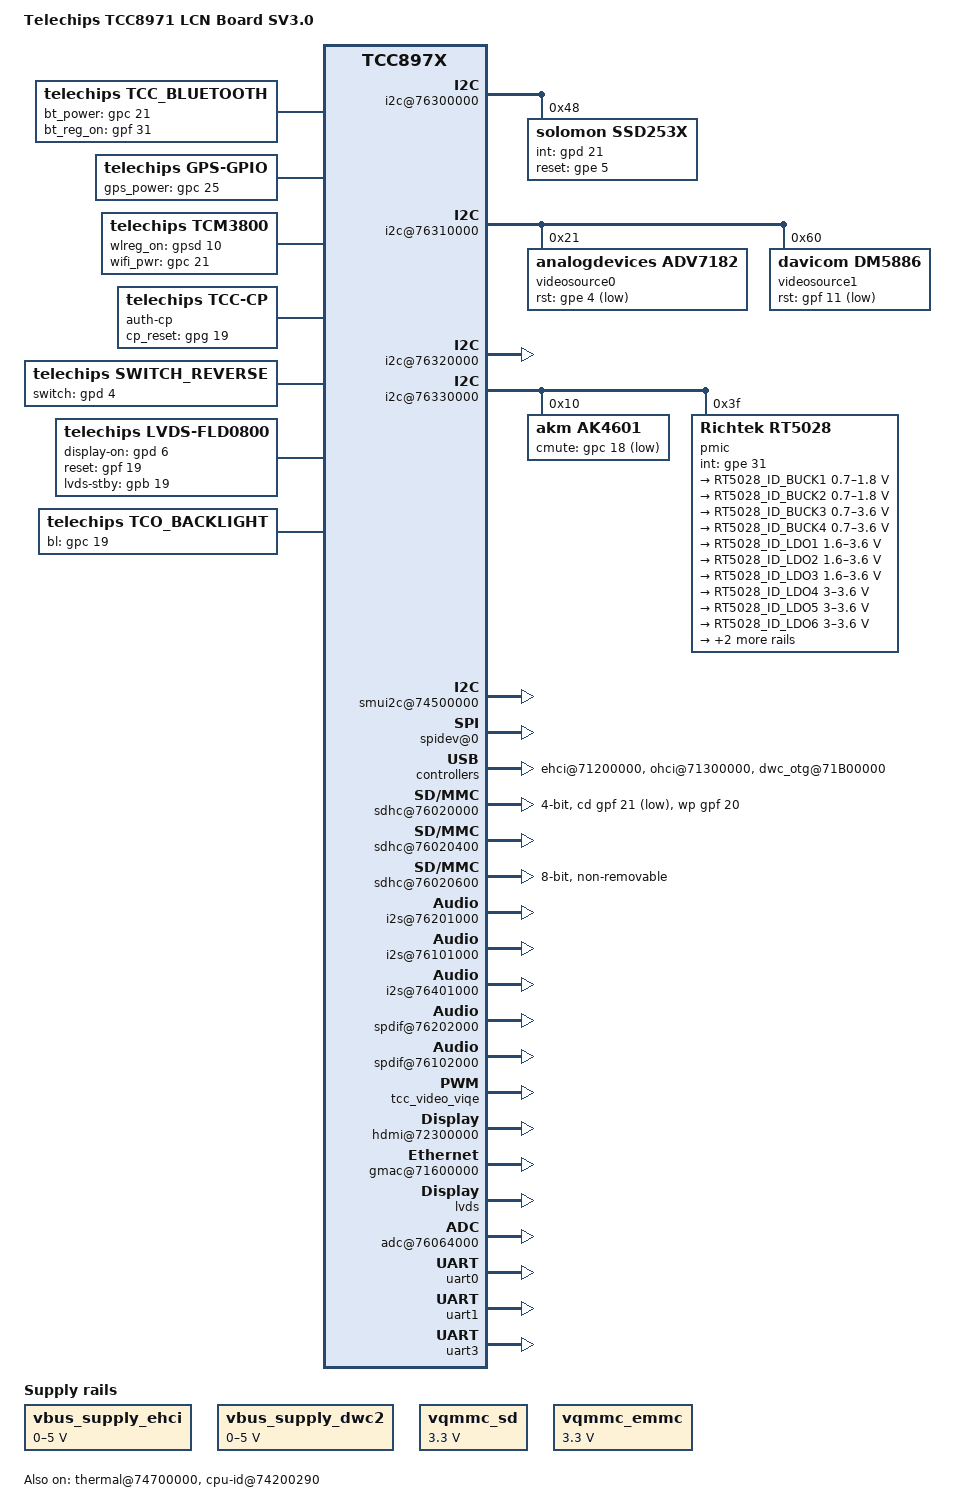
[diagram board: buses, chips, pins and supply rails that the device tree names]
/*
 * Device tree for Telechips TCC8971 LCN board
 *
 * Copyright (C) 2018 Telechips Inc. - http://www.telechips.com
 *
 * This file is dual-licensed: you can use it either under the terms
 * of the GPL or the X11 license, at your option. Note that this dual
 * licensing only applies to this file, and not this project as a
 * whole.
 *
 *  a) This file is free software; you can redistribute it and/or
 *     modify it under the terms of the GNU General Public License as
 *     published by the Free Software Foundation; either version 2 of the
 *     License, or (at your option) any later version.
 *
 *     This file is distributed in the hope that it will be useful,
 *     but WITHOUT ANY WARRANTY; without even the implied warranty of
 *     MERCHANTABILITY or FITNESS FOR A PARTICULAR PURPOSE.  See the
 *     GNU General Public License for more details.
 *
 * Or, alternatively,
 *
 *  b) Permission is hereby granted, free of charge, to any person
 *     obtaining a copy of this software and associated documentation
 *     files (the "Software"), to deal in the Software without
 *     restriction, including without limitation the rights to use,
 *     copy, modify, merge, publish, distribute, sublicense, and/or
 *     sell copies of the Software, and to permit persons to whom the
 *     Software is furnished to do so, subject to the following
 *     conditions:
 *
 *     The above copyright notice and this permission notice shall be
 *     included in all copies or substantial portions of the Software.
 *
 *     THE SOFTWARE IS PROVIDED "AS IS", WITHOUT WARRANTY OF ANY KIND,
 *     EXPRESS OR IMPLIED, INCLUDING BUT NOT LIMITED TO THE WARRANTIES
 *     OF MERCHANTABILITY, FITNESS FOR A PARTICULAR PURPOSE AND
 *     NONINFRINGEMENT. IN NO EVENT SHALL THE AUTHORS OR COPYRIGHT
 *     HOLDERS BE LIABLE FOR ANY CLAIM, DAMAGES OR OTHER LIABILITY,
 *     WHETHER IN AN ACTION OF CONTRACT, TORT OR OTHERWISE, ARISING
 *     FROM, OUT OF OR IN CONNECTION WITH THE SOFTWARE OR THE USE OR
 *     OTHER DEALINGS IN THE SOFTWARE.
 */

/dts-v1/;

#include "tcc8971.dtsi"

#include <dt-bindings/pmap/tcc897x/pmap-tcc897x-android-ivi.h>
#include "tcc-pmap-897x-android-customized.dtsi"
#include "tcc-pmap-common.dtsi"

/ {
	model = "Telechips TCC8971 LCN Board SV3.0";
	compatible = "telechips,tcc8971-lcn", "telechips,tcc897x";

	reserved-memory {
		/*-----------------------------------------------------------
		 * Secure Area 1 (CPU R/W, VPU X, GPU R/W, VIOC R)
		 *-----------------------------------------------------------
		 */
		pmap_fb_video: fb_video {
			compatible = "telechips,pmap";
			telechips,pmap-name = "fb_video";
			alloc-ranges = <SECURE_AREA_1_BASE SECURE_AREA_1_SIZE>;
			size = <PMAP_SIZE_FB_VIDEO>;
			telechips,pmap-secured = <1>;
			no-map;
		};

		pmap_fb1_video: fb1_video {
			compatible = "telechips,pmap";
			telechips,pmap-name = "fb1_video";
			alloc-ranges = <SECURE_AREA_1_BASE SECURE_AREA_1_SIZE>;
			size = <PMAP_SIZE_FB1_VIDEO>;
			telechips,pmap-secured = <1>;
			no-map;
		};

		pmap_fb2_video: fb2_video {
			compatible = "telechips,pmap";
			telechips,pmap-name = "fb2_video";
			alloc-ranges = <SECURE_AREA_1_BASE SECURE_AREA_1_SIZE>;
			size = <PMAP_SIZE_FB2_VIDEO>;
			telechips,pmap-secured = <1>;
			no-map;
		};

		/*-----------------------------------------------------------
		 * Secure Area 2 (CPU X, VPU X, GPU X, VIOC R/W)
		 *-----------------------------------------------------------
		 */
		pmap_overlay: overlay {
			compatible = "telechips,pmap";
			telechips,pmap-name = "overlay";
			alloc-ranges = <SECURE_AREA_2_BASE SECURE_AREA_2_SIZE>;
			/* Max-Displayed-Output(w*h*2) * 3 */
			size = <PMAP_SIZE_OVERLAY>;
			telechips,pmap-secured = <2>;
			no-map;
		};

		pmap_overlay1: overlay1 {
			compatible = "telechips,pmap";
			telechips,pmap-name = "overlay1";
			alloc-ranges = <SECURE_AREA_2_BASE SECURE_AREA_2_SIZE>;
			/* Max-Displayed-Output(w*h*2) * 3 */
			size = <PMAP_SIZE_OVERLAY1>;
			telechips,pmap-secured = <2>;
			no-map;
		};

		pmap_overlay_rot: overlay_rot {
			compatible = "telechips,pmap";
			telechips,pmap-name = "overlay_rot";
			alloc-ranges = <SECURE_AREA_2_BASE SECURE_AREA_2_SIZE>;
			/* Max-Displayed-Output(w*h*2) for device-rotation. */
			size = <PMAP_SIZE_OVERLAY_ROT>;
			telechips,pmap-secured = <2>;
			no-map;
		};

		pmap_viqe0: viqe0 {
			compatible = "telechips,pmap";
			telechips,pmap-name = "viqe";
			alloc-ranges = <SECURE_AREA_2_BASE SECURE_AREA_2_SIZE>;
			size = <PMAP_SIZE_VIQE0>;
			telechips,pmap-secured = <2>;
			no-map;
		};

		pmap_viqe1: viqe1 {
			compatible = "telechips,pmap";
			telechips,pmap-name = "viqe1";
			alloc-ranges = <SECURE_AREA_2_BASE SECURE_AREA_2_SIZE>;
			size = <PMAP_SIZE_VIQE1>;
			telechips,pmap-secured = <2>;
			no-map;
		};

		pmap_output_attach: output_attach {
			compatible = "telechips,pmap";
			telechips,pmap-name = "output_attach";
			alloc-ranges = <SECURE_AREA_2_BASE SECURE_AREA_2_SIZE>;
			size = <PMAP_SIZE_OUTPUT_ATTACH>;
			telechips,pmap-secured = <2>;
			no-map;
		};

		pmap_v4l2_vout0: v4l2_vout0 {
			compatible = "telechips,pmap";
			telechips,pmap-name = "v4l2_vout0";
			alloc-ranges = <SECURE_AREA_2_BASE SECURE_AREA_2_SIZE>;
			size = <PMAP_SIZE_V4L2_VOUT0>;
			telechips,pmap-secured = <2>;
			no-map;
		};

		pmap_v4l2_vout1: v4l2_vout1 {
			compatible = "telechips,pmap";
			telechips,pmap-name = "v4l2_vout1";
			alloc-ranges = <SECURE_AREA_2_BASE SECURE_AREA_2_SIZE>;
			size = <PMAP_SIZE_V4L2_VOUT1>;
			telechips,pmap-secured = <2>;
			no-map;
		};

		pmap_video_dual: video_dual {
			compatible = "telechips,pmap";
			telechips,pmap-name = "video_dual";
			alloc-ranges = <SECURE_AREA_2_BASE SECURE_AREA_2_SIZE>;
			size = <PMAP_SIZE_VIDEO_DUAL>;
			telechips,pmap-secured = <2>;
			no-map;
		};

		pmap_fb_wmixer: fb_wmixer {
			compatible = "telechips,pmap";
			telechips,pmap-name = "fb_wmixer";
			alloc-ranges = <SECURE_AREA_2_BASE SECURE_AREA_2_SIZE>;
			/* Max-Video-Resolution(w*h*2) */
			size = <PMAP_SIZE_FB_WMIXER>;
			telechips,pmap-secured = <2>;
			no-map;
		};

		/*-----------------------------------------------------------
		 * Secure Area 3 (CPU X, VPU R/W, GPU X, VIOC R)
		 *-----------------------------------------------------------
		 */

		pmap_secure_inbuf: secure_inbuf {
			compatible = "telechips,pmap";
			telechips,pmap-name = "secure_inbuf";
			alloc-ranges = <SECURE_AREA_3_BASE SECURE_AREA_3_SIZE>;
			size = <PMAP_SIZE_SECURE_INBUF>;
			telechips,pmap-secured = <3>;
			no-map;
		};

		pmap_video_ext: video_ext {
			compatible = "telechips,pmap";
			telechips,pmap-name = "video_ext";
			alloc-ranges = <SECURE_AREA_3_BASE SECURE_AREA_3_SIZE>;
			size = <PMAP_SIZE_VIDEO_EXT>;
			telechips,pmap-secured = <3>;
			no-map;
		};

		pmap_video_ext2: video_ext2 {
			compatible = "telechips,pmap";
			telechips,pmap-name = "video_ext2";
			alloc-ranges = <SECURE_AREA_3_BASE SECURE_AREA_3_SIZE>;
			size = <PMAP_SIZE_VIDEO_EXT2>;
			telechips,pmap-secured = <3>;
			no-map;
		};

		pmap_video: video {
			compatible = "telechips,pmap";
			telechips,pmap-name = "video";
			alloc-ranges = <SECURE_AREA_3_BASE SECURE_AREA_3_SIZE>;
			size = <PMAP_SIZE_VIDEO>;
			telechips,pmap-secured = <3>;
			no-map;
		};

		pmap_video_sw: video_sw {
			compatible = "telechips,pmap";
			telechips,pmap-name = "video_sw";
			alloc-ranges = <RESERVED_MEM_BASE RESERVED_MEM_SIZE>;
			size = <PMAP_SIZE_VIDEO_SW_EXTRA>;
			no-map;
		};

		/*-----------------------------------------------------------
		 * Secure Area 4 (CPU X, VPU X, GPU R/W, VIOC R/W)
		 *-----------------------------------------------------------
		 */
		pmap_ump_reserved: ump_reserved {
			compatible = "telechips,pmap";
			telechips,pmap-name = "ump_reserved";
			alloc-ranges = <SECURE_AREA_4_BASE SECURE_AREA_4_SIZE>;
			/* Max-Video-Resolution(Aligned_256KB(w*h*3/2)) * 12 + 1MB */
			size = <PMAP_SIZE_UMP_RESERVED>;
			telechips,pmap-secured = <4>;
		};

		pmap_ion_carveout_cam: ion_carveout_cam {
			compatible = "telechips,pmap";
			telechips,pmap-name = "ion_carveout_cam";
			alloc-ranges = <SECURE_AREA_4_BASE SECURE_AREA_4_SIZE>;
			size = <PMAP_SIZE_ION_CARVEOUT_CAM>; // 12MB
			telechips,pmap-secured = <4>;
		};

		/*-----------------------------------------------------------
		 * Shared Memory with pmap_viqe
		 *-----------------------------------------------------------
		 */
		pmap_jpeg_header: jpeg_header {
			compatible = "telechips,pmap";
			telechips,pmap-name = "jpeg_header";
			alloc-ranges = <RESERVED_MEM_BASE RESERVED_MEM_SIZE>;
			telechips,pmap-shared = <&pmap_viqe0>;
			telechips,pmap-shared-size = <PMAP_SIZE_JPEG_HEADER>;
			telechips,pmap-offset = <0x0>;
			size = <0x0>;
			no-map;
		};

		pmap_jpeg_stream: jpeg_stream {
			compatible = "telechips,pmap";
			telechips,pmap-name = "jpeg_stream";
			alloc-ranges = <RESERVED_MEM_BASE RESERVED_MEM_SIZE>;
			telechips,pmap-shared = <&pmap_jpeg_header>;
			telechips,pmap-shared-size = <PMAP_SIZE_JPEG_STREAM>;
			telechips,pmap-offset = <PMAP_SIZE_JPEG_HEADER>;
			size = <0x0>;
			no-map;
		};

		pmap_jpeg_raw: jpeg_raw {
			compatible = "telechips,pmap";
			telechips,pmap-name = "jpeg_raw";
			alloc-ranges = <RESERVED_MEM_BASE RESERVED_MEM_SIZE>;
			telechips,pmap-shared = <&pmap_jpeg_stream>;
			telechips,pmap-shared-size = <PMAP_SIZE_JPEG_RAW>;
			telechips,pmap-offset = <PMAP_SIZE_JPEG_STREAM>;
			size = <0x0>;
			no-map;
		};

		/*-----------------------------------------------------------
		 * Camera Memory
		 *-----------------------------------------------------------
		 */
		pmap_rearcamera_viqe: rearcamera_viqe {
			compatible = "telechips,pmap";
			telechips,pmap-name = "rearcamera_viqe";
			alloc-ranges = <EARLY_REARCAM_BASE EARLY_REARCAM_SIZE>;
			size = <PMAP_SIZE_CAMERA_VIQE>;
			no-map;
		};

		pmap_rearcamera: rearcamera {
			compatible = "telechips,pmap";
			telechips,pmap-name = "rearcamera";
			alloc-ranges = <EARLY_REARCAM_BASE EARLY_REARCAM_SIZE>;
			size = <PMAP_SIZE_CAMERA_PREVIEW0>;
			no-map;
		};

		pmap_rearcamera3: rearcamera3 {
			compatible = "telechips,pmap";
			telechips,pmap-name = "rearcamera3";
			alloc-ranges = <EARLY_REARCAM_BASE EARLY_REARCAM_SIZE>;
			size = <PMAP_SIZE_CAMERA_PREVIEW3>;
			no-map;
		};

		pmap_parking_gui: parking_gui {
			compatible = "telechips,pmap";
			telechips,pmap-name = "parking_gui";
			alloc-ranges = <EARLY_REARCAM_BASE EARLY_REARCAM_SIZE>;
			size = <PMAP_SIZE_CAMERA_PGL>;
			no-map;
		};

		/*-----------------------------------------------------------
		 * Default Reserved Memory
		 *-----------------------------------------------------------
		 */
		pmap_ump_reserved_sw: ump_reserved_sw {
			compatible = "telechips,pmap";
			telechips,pmap-name = "ump_reserved_sw";
			alloc-ranges = <RESERVED_MEM_BASE RESERVED_MEM_SIZE>;
			size = <PMAP_SIZE_UMP_RESERVED_SW>; // 4KB * 12
			no-map;
		};

		pmap_video_sbackup: video_sbackup {
			compatible = "telechips,pmap";
			telechips,pmap-name = "video_sbackup";
			alloc-ranges = <RESERVED_MEM_BASE RESERVED_MEM_SIZE>;
			/* 0x200000 for 1080p, 0x600000 for 2160p */
			size = <PMAP_SIZE_VIDEO_SBACKUP>;
			telechips,pmap-secured;
			no-map;
		};

		pmap_pmem: pmem {
			compatible = "telechips,pmap";
			telechips,pmap-name = "pmem";
			alloc-ranges = <RESERVED_MEM_BASE RESERVED_MEM_SIZE>;
			size = <PMAP_SIZE_PMEM>;
			no-map;
		};

		pmap_video_thumb: video_thumb {
			compatible = "telechips,pmap";
			telechips,pmap-name = "video_thumb";
			alloc-ranges = <RESERVED_MEM_BASE RESERVED_MEM_SIZE>;
			/* 0x600000 for 1080p video, 0x1A00000 for 2160p */
			size = <PMAP_SIZE_VIDEO_THUMB>;
			no-map;
		};

		pmap_ext_camera: ext_camera {
			compatible = "telechips,pmap";
			telechips,pmap-name = "ext_camera";
			alloc-ranges = <RESERVED_MEM_BASE RESERVED_MEM_SIZE>;
			size = <PMAP_SIZE_EXT_CAMERA>;
			no-map;
		};

		pmap_nand_mem: nand_mem {
			compatible = "telechips,pmap";
			telechips,pmap-name = "nand_mem";
			alloc-ranges = <RESERVED_MEM_BASE RESERVED_MEM_SIZE>;
			size = <PMAP_SIZE_NAND_MEM>;
			no-map;
		};

		pmap_tsif: tsif {
			compatible = "telechips,pmap";
			telechips,pmap-name = "tsif";
			alloc-ranges = <RESERVED_MEM_BASE RESERVED_MEM_SIZE>;
			size = <PMAP_SIZE_TSIF>;
			no-map;
		};

		/*
		 * pmap_jpg_enc_dxb: jpg_enc_dxb {
		 *	telechips,pmap-name = "jpg_enc_dxb";
		 *	alloc-ranges = <RESERVED_MEM_BASE RESERVED_MEM_SIZE>;
		 *	size = <PMAP_SIZE_JPG_ENC_DXB>;
		 *	no-map;
		 * };
		 *
		 * pmap_jpg_raw_dxb: jpg_raw_dxb {
		 *	telechips,pmap-name = "jpg_raw_dxb";
		 *	alloc-ranges = <RESERVED_MEM_BASE RESERVED_MEM_SIZE>;
		 *	size = <PMAP_SIZE_JPG_RAW_DXB>;
		 *	no-map;
		 * };
		 */

		pmap_v4l2_subtitle: v4l2_subtitle {
			compatible = "telechips,pmap";
			telechips,pmap-name = "v4l2_subtitle";
			alloc-ranges = <RESERVED_MEM_BASE RESERVED_MEM_SIZE>;
			size = <PMAP_SIZE_V4L2_SUBTITLE>;
			no-map;
		};

		pmap_prot_tztee: prot_tztee {
			compatible = "telechips,pmap";
			telechips,pmap-name = "prot_tztee";
			alloc-ranges = <RESERVED_MEM_BASE RESERVED_MEM_SIZE>;
			/* Calculate start address based on 0x30000000.
			 * Base address will be (0x30000000 - prot_tztee_size).
			 */
			size = <0x0>;
			no-map;
		};

		reserved_ramoops: ramoops {
			compatible = "telechips,pmap";
			telechips,pmap-name = "ramoops";
			alloc-ranges = <RESERVED_MEM_BASE RESERVED_MEM_SIZE>;
			size = <PMAP_SIZE_RAMOOPS>;
			no-map;
		};

		/*
		 * reserved_cma: linux,cma {
		 *	compatible = "shared-dma-pool";
		 *	alloc-ranges = <RESERVED_MEM_BASE RESERVED_MEM_SIZE>;
		 *	size = <PMAP_SIZE_CMA>;
		 *	//alignment = <0x04000000>;
		 *	alignment = <0x0>;
		 *	linux,cma-default;
		 *	reusable;
		 * };
		 */

		/*-----------------------------------------------------------
		 * Shared Memory with pmap_video :: only for enc_main pmap.
		 *-----------------------------------------------------------
		 */
		pmap_enc_main: enc_main {
			compatible = "telechips,pmap";
			telechips,pmap-name = "enc_main";
			alloc-ranges = <RESERVED_MEM_BASE RESERVED_MEM_SIZE>;
			telechips,pmap-shared = <&pmap_video>;
			telechips,pmap-shared-size = <PMAP_SIZE_ENC>;
			telechips,pmap-offset = <VIDEO_MAIN_SIZE>;
			size = <0x0>;
			no-map;
		};

		pmap_enc_ext: enc_ext {
			compatible = "telechips,pmap";
			telechips,pmap-name = "enc_ext";
			alloc-ranges = <RESERVED_MEM_BASE RESERVED_MEM_SIZE>;
			size = <PMAP_SIZE_ENC_EXT>;
			no-map;
		};

		pmap_enc_ext2: enc_ext2 {
			compatible = "telechips,pmap";
			telechips,pmap-name = "enc_ext2";
			alloc-ranges = <RESERVED_MEM_BASE RESERVED_MEM_SIZE>;
			size = <PMAP_SIZE_ENC_EXT2>;
			no-map;
		};

		pmap_enc_ext3: enc_ext3 {
			compatible = "telechips,pmap";
			telechips,pmap-name = "enc_ext3";
			alloc-ranges = <RESERVED_MEM_BASE RESERVED_MEM_SIZE>;
			size = <PMAP_SIZE_ENC_EXT3>;
			no-map;
		};

		pmap_enc_ext4: enc_ext4 {
			compatible = "telechips,pmap";
			telechips,pmap-name = "enc_ext4";
			alloc-ranges = <RESERVED_MEM_BASE RESERVED_MEM_SIZE>;
			size = <PMAP_SIZE_ENC_EXT4>;
			no-map;
		};

		pmap_enc_ext5: enc_ext5 {
			compatible = "telechips,pmap";
			telechips,pmap-name = "enc_ext5";
			alloc-ranges = <RESERVED_MEM_BASE RESERVED_MEM_SIZE>;
			size = <PMAP_SIZE_ENC_EXT5>;
			no-map;
		};

		pmap_enc_ext6: enc_ext6 {
			compatible = "telechips,pmap";
			telechips,pmap-name = "enc_ext6";
			alloc-ranges = <RESERVED_MEM_BASE RESERVED_MEM_SIZE>;
			size = <PMAP_SIZE_ENC_EXT6>;
			no-map;
		};

		pmap_enc_ext7: enc_ext7 {
			compatible = "telechips,pmap";
			telechips,pmap-name = "enc_ext7";
			alloc-ranges = <RESERVED_MEM_BASE RESERVED_MEM_SIZE>;
			size = <PMAP_SIZE_ENC_EXT7>;
			no-map;
		};

		pmap_enc_ext8: enc_ext8 {
			compatible = "telechips,pmap";
			telechips,pmap-name = "enc_ext8";
			alloc-ranges = <RESERVED_MEM_BASE RESERVED_MEM_SIZE>;
			size = <PMAP_SIZE_ENC_EXT8>;
			no-map;
		};

		pmap_enc_ext9: enc_ext9 {
			compatible = "telechips,pmap";
			telechips,pmap-name = "enc_ext9";
			alloc-ranges = <RESERVED_MEM_BASE RESERVED_MEM_SIZE>;
			size = <PMAP_SIZE_ENC_EXT9>;
			no-map;
		};

		pmap_enc_ext10: enc_ext10 {
			compatible = "telechips,pmap";
			telechips,pmap-name = "enc_ext10";
			alloc-ranges = <RESERVED_MEM_BASE RESERVED_MEM_SIZE>;
			size = <PMAP_SIZE_ENC_EXT10>;
			no-map;
		};

		pmap_enc_ext11: enc_ext11 {
			compatible = "telechips,pmap";
			telechips,pmap-name = "enc_ext11";
			alloc-ranges = <RESERVED_MEM_BASE RESERVED_MEM_SIZE>;
			size = <PMAP_SIZE_ENC_EXT11>;
			no-map;
		};

		pmap_enc_ext12: enc_ext12 {
			compatible = "telechips,pmap";
			telechips,pmap-name = "enc_ext12";
			alloc-ranges = <RESERVED_MEM_BASE RESERVED_MEM_SIZE>;
			size = <PMAP_SIZE_ENC_EXT12>;
			no-map;
		};

		pmap_enc_ext13: enc_ext13 {
			compatible = "telechips,pmap";
			telechips,pmap-name = "enc_ext13";
			alloc-ranges = <RESERVED_MEM_BASE RESERVED_MEM_SIZE>;
			size = <PMAP_SIZE_ENC_EXT13>;
			no-map;
		};

		pmap_enc_ext14: enc_ext14 {
			compatible = "telechips,pmap";
			telechips,pmap-name = "enc_ext14";
			alloc-ranges = <RESERVED_MEM_BASE RESERVED_MEM_SIZE>;
			size = <PMAP_SIZE_ENC_EXT14>;
			no-map;
		};

		pmap_enc_ext15: enc_ext15 {
			compatible = "telechips,pmap";
			telechips,pmap-name = "enc_ext15";
			alloc-ranges = <RESERVED_MEM_BASE RESERVED_MEM_SIZE>;
			size = <PMAP_SIZE_ENC_EXT15>;
			no-map;
		};
	};

	ckc@74000000 {
		adjust-audio-clk;	/* adjust audio clock for A2DP plaing */
	};

	tcc_bluetooth {
		compatible = "telechips, tcc_bluetooth";
		bt_power-gpio = <&gpc 21 0>;
		bt_reg_on-gpio = <&gpf 31 0>;
		status = "okay";
	};

	tcc_bt_dev {
		compatible = "telechips, tcc_bt_dev";
		status = "okay";
	};

	gps-gpio {
		compatible = "telechips, gps-gpio";
		gps_power-gpios = <&gpc 25 0>;
	};

	i2c@76300000 {
		status = "okay";
		port-mux = <11>;
		pinctrl-names = "default";
		pinctrl-0 = <&i2c11_bus>;

		ssd253x@48 {
			compatible = "solomon,ssd253x";
			reg = <0x48>;
			pinctrl-names = "default";
			pinctrl-0 = <&tsc_default>;
			int-gpio = <&gpd 21 0>;
			reset-gpio = <&gpe 5 0>;
		};
	};

	i2c@76310000 {
		status = "okay";
		port-mux = <18>;
		pinctrl-names = "default";
		pinctrl-0 = <&i2c18_bus>;

		videosource0: videodecoder_adv7182 {
			compatible	= "analogdevices,adv7182";
			pinctrl-names	= "idle", "active";
			cifport         = <4>;
			pinctrl-0	= <&cam4_idle>;
			pinctrl-1	= <&cam4_clk &cam4_data>;
			rst-gpios	= <&gpe  4 1>;
			reg		= <0x21>;	// 0x42 >> 1
		};

		videosource1: videodecoder_dm5886 {
			compatible	= "davicom,dm5886";
			pinctrl-names	= "idle", "active";
			cifport         = <1>;
			pinctrl-0	= <&cam1_idle>;
			pinctrl-1	= <&cam1_clk &cam1_hsync &cam1_vsync &cam1_data &cam1_fld &cam1_de>;
                        rst-gpios	= <&gpf 11 1>;
			reg		= <0x60>;	// 0xC0 >> 1
		};
	};

	i2c@76320000 {
		status = "okay";
		port-mux = <23>;
		pinctrl-names = "default";
		pinctrl-0 = <&i2c23_bus>;
	};

	i2c@76330000 {
		status = "okay";
		port-mux = <12>;
		pinctrl-names = "default";
		pinctrl-0 = <&i2c12_bus>;

		ak4601: ak4601@10 {
			compatible = "akm,ak4601";
			//ak4601,pdn-gpio = <&gpe 4 1>;
			cmute-gpios = <&gpc 18 1>;     //CODEC_MUTE    0: active high, 1: active low
			//amute-gpios = <&gpc 18 0>;      //AMP_MUTE      0: active high, 1: active low
			//stanby-gpios = <&gpc 16 0>;     //AMP_STBY      0: active high, 1: active low		
			reg = <0x10>;
		};

		pmic: rt5028@3f {
			compatible = "Richtek,rt5028";
			reg = <0x3f>;
			int-gpios = <&gpe 31 0>;

			regulators {
				RT5028_ID_BUCK1: buck1 {
					regulator-name = "vdd_core";
					regulator-min-microvolt = <700000>;
					regulator-max-microvolt = <1800000>;
					regulator-always-on;
				};
				RT5028_ID_BUCK2: buck2 {
					regulator-name = "vdd_mem";
					regulator-min-microvolt = <700000>;
					regulator-max-microvolt = <1800000>;
					regulator-always-on;
				};
				RT5028_ID_BUCK3: buck3 {
					regulator-name = "vdd_cpu";
					regulator-min-microvolt = <700000>;
					regulator-max-microvolt = <3600000>;
					regulator-always-on;
				};
				RT5028_ID_BUCK4: buck4 {
					regulator-name = "vdd_io3v3";
					regulator-min-microvolt = <700000>;
					regulator-max-microvolt = <3600000>;
					regulator-always-on;
				};
				RT5028_ID_LDO1: ldo1 {
					regulator-name = "vd2_core";
					regulator-min-microvolt = <1600000>;
					regulator-max-microvolt = <3600000>;
					regulator-always-on;
				};
				RT5028_ID_LDO2: ldo2 {
					regulator-name = "vdd_io1v8";
					regulator-min-microvolt = <1600000>;
					regulator-max-microvolt = <3600000>;
					regulator-always-on;
				};
				RT5028_ID_LDO3: ldo3 {
					regulator-name = "vdd_btwifi";
					regulator-min-microvolt = <1600000>;
					regulator-max-microvolt = <3600000>;
					regulator-always-on;
				};
				RT5028_ID_LDO4: ldo4 {
					regulator-name = "vdd_vbat";
					regulator-min-microvolt = <3000000>;
					regulator-max-microvolt = <3600000>;
					regulator-always-on;
				};
				RT5028_ID_LDO5: ldo5 {
					regulator-name = "vdd_gps";
					regulator-min-microvolt = <3000000>;
					regulator-max-microvolt = <3600000>;
					regulator-always-on;
				};
				RT5028_ID_LDO6: ldo6 {
					regulator-name = "vd1_io";
					regulator-min-microvolt = <3000000>;
					regulator-max-microvolt = <3600000>;
					regulator-always-on;
				};
				RT5028_ID_LDO7: ldo7 {
					regulator-name = "vd1_core";
					regulator-min-microvolt = <1600000>;
					regulator-max-microvolt = <3600000>;
					regulator-always-on;
				};
				RT5028_ID_LDO8: ldo8 {
					regulator-name = "vd2_io";
					regulator-min-microvolt = <1600000>;
					regulator-max-microvolt = <3600000>;
					regulator-always-on;
				};
			};
		};
	};

	smui2c@74500000 {
		status = "okay";
	};

	gpsb0@76900000 {
		status = "okay";
		gpsb-port = <12>;
		pinctrl-names = "idle", "active";
		pinctrl-0 = <&gpsb12_bus_idle>;
		pinctrl-1 = <&gpsb12_bus_spi>;

		#address-cells = <1>;
		#size-cells = <0>;

		spidev@0 {
			compatible = "rohm,dh2228fv";
			reg = <0>;
			spi-max-frequency = <2000000>;
		};
	};

	gpsb1@76910000 {
		status = "okay";
		gpsb-port = <13>;
		pinctrl-names = "idle", "active";
		pinctrl-0 = <&gpsb13_bus_idle>;
		pinctrl-1 = <&gpsb13_bus_tsif>;
	};

	gpsb2@76920000 {
		status = "okay";
		gpsb-port = <12>;
		pinctrl-names = "idle", "active";
		pinctrl-0 = <&gpsb12_bus_idle>;
		pinctrl-1 = <&gpsb12_bus_tsif>;
	};

	vbus_supply_ehci: vbus_supply_ehci {
		compatible = "regulator-gpio";
		regulator-name = "vbus_supply_ehci";
		regulator-type = "voltage";
		regulator-min-microvolt = <0000001>;
		regulator-max-microvolt = <5000000>;
		gpios = <&gphdmi 2 0x0>;
		gpios-states = <0x0>;
		states = <0000001 0x0 5000000 0x1>;
	};

	vbus_supply_dwc2: vbus_supply_dwc2 {
		compatible = "regulator-gpio";
		regulator-name = "vbus_supply_dwc2";
		regulator-type = "voltage";
		regulator-min-microvolt = <0000001>;
		regulator-max-microvolt = <5000000>;
		gpios = <&gphdmi 3 0x0>;
		gpios-states = <0x0>;
		states = <0000001 0x0 5000000 0x1>;
	};

	ehci_phy@71EA0010{
		status = "okay";
		vbus-ctrl-able;
		vbus-supply = <&vbus_supply_ehci>;
	};

	ehci@71200000 {
		status = "okay";
	};

	ohci@71300000 {
		status = "okay";
	};

	dwc_otg_phy@71EA0100 {
		status = "okay";
		vbus-ctrl-able;
		vbus-supply = <&vbus_supply_dwc2>;
	};

	dwc_otg@71B00000 {
		status = "okay";
		phy-type = <1>;     //pico phy = 1, nano phy = 0
	};

	/* SD CARD */
	vqmmc_sd: vqmmc_sd {
		compatible = "regulator-fixed";
		regulator-name = "vqmmc_sd";
		regulator-min-microvolt = <3300000>;
		regulator-max-microvolt = <3300000>;
		regulator-always-on;
	};

	sdhc@76020000 {
		status = "okay";
		/*
		 * In order to reduce boot time,
		 * we use the driver as module not built-in.
		 */
		compatible = "telechips,tcc897x-sdhci,module-only";
		controller-id = <0>;
		bus-width = <4>;
		max-frequency = <50000000>;
		pinctrl-names = "default";
		pinctrl-0 = <&sd5_clk &sd5_cmd &sd5_bus4>;

		broken-cd;
		cd-inverted;
		keep-power-in-suspend;

		wp-gpios = <&gpf 20 0>;
		cd-gpios = <&gpf 21 0>;

		vqmmc-supply = <&vqmmc_sd>;
	};
#if 1 // 0 : force detect, 1 : not force detect
	sdhc@76020400 { // Wi-Fi tcm3840
		status = "okay";
		controller-id = <2>;
		max-frequency = <208000000>;
		//cd-gpios = <&gpb 13 0>;
		//wp-gpios = <&gpext1 3 0>;
		pinctrl-names = "default", "active";
		pinctrl-0 = <&sd0_clk_idle &sd0_cmd_idle &sd0_bus4_idle &out0_clk>;
		pinctrl-1 = <&sd0_clk &sd0_cmd &sd0_bus4 &out0_clk>;
		clocks = <&clk_peri PERI_SDMMC2 &clk_io IOBUS_SDMMC2 &clk_peri PERI_OUT0>;
		clock-names = "mmc_fclk", "mmc_hclk", "ext32";
		//pwr-gpio = <&gpext2 10 0>;

		cd-inverted;
		//wp-inverted;
		//non-removable;
		//broken-cd;
		keep-power-in-suspend;
		//enable-sdio-wakeup;
		//cap-power-off-card;
		//tcc-clock-control;
		cap-sdio-irq;
		cap2-no-sleep-cmd;
		cap-bus-width-test;

		wifi-polling; // tcm3800 polling
		ext32-enable; // make_rtc
		cap-adma;

		/* High-speed SDR */
		cap-sd-highspeed;
		cap-mmc-highspeed;

		/* High-speed DDR(emmc & SD3.0 DDR50) */
		//cap-1-8V-ddr;
		//cap-uhs-ddr50;

		/* SD3.0 Common */
		cap-vdd-165-195;

		/* SD3.0 SDR12 */
		//cap-uhs-sdr12;

		/* SD3.0 SDR25 */
		//cap-uhs-sdr25;
		//cap-uhs-driver_type_a;

		/* SD3.0 SDR50 */
		//cap-uhs-sdr50;
		//cap-uhs-driver_type_c;

		/* SD3.0 SDR104 */
		cap-uhs-sdr104;
		cap-uhs-driver_type_d;
		cap-uhs-cmd23;
		cap-adma;
	};

	tcm3800 {
		compatible = "telechips, tcm3800";
		wlreg_on-gpio = <&gpsd 10 0>; /* WIFI_REG_ON */
		wifi_pwr-gpio = <&gpc 21 0>; /* BTWIFI_VBAT_EN */
	};
#else
	/* for BT/WIFI LPO (32.768KHz) */
	tcm_lpo: tcm_lpo {
		compatible = "telechips,tcm-lpo";
		clocks = <&clk_peri PERI_OUT0>;
		clock-names = "ext_clock";
		ext_clock_speed = <32768>;
		pinctrl-names = "default";
		pinctrl-0 = <&out0_clk>;
	};

	/* for pwrseq */
	sdhc2_pwrseq: sdhc2_pwrseq {
		//compatible = "mmc-pwrseq-simple-ext-clock";
	};

	vqmmc_sdio: vqmmc_sdio {
		compatible = "regulator-fixed";
		regulator-name = "vqmmc_sdio";
		regulator-min-microvolt = <3300000>;
		regulator-max-microvolt = <3300000>;
		regulator-always-on;
	};

	sdhc@76020400 { // Wi-Fi tcm3840
		status = "okay";
		compatible = "telechips,tcc897x-sdhci";
		controller-id = <2>;
		bus-width = <4>;
		max-frequency = <200000000>;
		pinctrl-names = "default";
		pinctrl-0 = <&sd0_clk &sd0_cmd &sd0_bus4>;
		clocks = <&clk_peri PERI_SDMMC2 &clk_io IOBUS_SDMMC2>;
		clock-names = "mmc_fclk", "mmc_hclk";

		keep-power-in-suspend;
		cap-sdio-irq;

		//mmc-pwrseq = <&sdhc2_pwrseq>;
		vqmmc-supply = <&vqmmc_sdio>;

		cd-force-presence-change;

		tcm38xx {
			compatible = "telechips,tcm38xx";
			wlreg_on-gpio = <&gpsd 10 0>; /* WIFI_REG_ON */
			wifi_pwr-gpio = <&gpc 21 0>; /* BTWIFI_VBAT_EN */
		};
	};
#endif

	/* eMMC */
	vqmmc_emmc: vqmmc_emmc {
		compatible = "regulator-fixed";
		regulator-name = "vqmmc_emmc";
		regulator-min-microvolt = <3300000>;
		regulator-max-microvolt = <3300000>;
		regulator-always-on;
	};

	sdhc@76020600 {
		status = "okay";
		compatible = "telechips,tcc897x-sdhci";
		controller-id = <3>;
		bus-width = <8>;
		max-frequency = <50000000>;
		pinctrl-names = "default";
		pinctrl-0 = <&sd3_clk &sd3_cmd &sd3_bus8>;

		non-removable;
		keep-power-in-suspend;
		disable-wp;

		vqmmc-supply = <&vqmmc_emmc>;
	};

/*
	tcc_dxb_drv {
		compatible = "telechips,tcc_dxb_drv";
	};

	tcc_dxb_internal {
		compatible = "telechips,tcc_dxb_internal";
		hwdmx_num = <2>;
	};

	tcc_dxb_ctrl {
		compatible = "telechips,tcc_dxb_ctrl";
		pw-gpios   = <&gpext2 27 0>;
		dxb0-gpios = <&gpext2 30 0>, <&gpext2 28 0>, <&gpe 8 0>, <&gpe 1 0>;
		dxb1-gpios = <&gpext2 31 0>, <&gpext2 29 0>, <&gpe 9 0>, <&gpe 17 0>;
		ant-gpios  = <0>, <0>;
	};
*/
	/* CP */
	auth-cp {
		compatible = "telechips, tcc-cp";
		cp-type = <2>;	    /* 3.0 = 2, 2.0C = 1, 2.0B = 0 */
		i2c-channel = <2>;	/* 0 ~ 3 */
		/*	power-ctrl-able; */
		/* cp_power-gpio = <&gpext2 14 0>; */
		cp_reset-gpio = <&gpg 19 0>;
	};

	i2s@76201000 {
		pinctrl-names = "default", "dai_mute";
		pinctrl-0 = <&mdai_clks &mdai_d0>;
		pinctrl-1 = <&mute_mdai_d0>;
		status = "okay";
	};

	i2s@76101000 {
		pinctrl-names = "default", "dai_mute";
		pinctrl-0 = <&s3dai_clks &s3dai_d0>;
		pinctrl-1 = <&mute_s3dai_d0>;
		status = "okay";
	};

	i2s@76401000 {
		pinctrl-names = "default", "dai_mute";
		pinctrl-0 = <&s1dai_clks &s1dai_d0>;
		pinctrl-1 = <&mute_s1dai_d0>;
		status = "okay";
	};
/*
	i2s@76b01000 {
		pinctrl-names = "default";
		pinctrl-0 = <&s2dai_clks &s2dai_d0>;
		status = "okay";
	};
*/
	spdif@76202000 {
		pinctrl-names = "default";
		pinctrl-0 = <&mdai_spdif_tx &mdai_spdif_rx>;
		status = "okay";
	};

	spdif@76102000 {
		pinctrl-names = "default";
		pinctrl-0 = <&s3dai_spdif_tx>;
		status = "okay";
	};

	dummy: dummy@0 {
		compatible = "telechips,dummy";
	};

	sound {
		compatible = "telechips,snd-lcn3";
		telechips,model = "TCC Audio Card";

		telechips,dai-controller = <&i2s1 &spdif0 &i2s0 &spdif1>;
		telechips,audio-codec = <&ak4601 &dummy &dummy &dummy>;

		status="okay";
	};

	switch_reverse {
		compatible = "telechips,switch_reverse";
		status = "okay";

		pinctrl-names = "default";
		pinctrl-0 = <&switch_reverse2>;

		switch-gpios = <&gpd 4 0>;
		switch-active = <1>;
	};

	overlaymixer:overlaymixer@72400000 {
		//status ="okay";
		contiguousSize = <0x1000000>;  /* 16MB (if > 512MB RAM) refer to Guide 27 Page */
		baseAddress = <0x80000000>;
		physSize = <0x80000000>; /*  DRAM size (0x40000000 = 1GB, 0x80000000 = 2GB) */
	};

	fbdisplay: fbdisplay@72000000 {
		telechips,fbdisplay_num = <0>;
		status ="okay";
	};

	tcc_vsync_drv {
		compatible = "telechips,tcc_vsync";
		display-vioc0 = <&vioc_disp VIOC_DISP0>;
		display-vioc1 = <&vioc_disp VIOC_DISP1>;
		status = "okay";
	};

	tcc_video_viqe {
		status ="okay";

		tcc_video_viqe_lcd {
			telechips,sc = <&vioc_scaler VIOC_SCALER3>;
			//scaler_num_60 = <3>;
		};
	};

	vioc_lut:vioc_lut@72009000{
		status = "okay";
	};

	wdma_drv0:wdma_drv@0 {
		status = "okay";
		scalers = <&vioc_scaler VIOC_SCALER2>, <&vioc_scaler VIOC_SCALER2>;
	};

	hdmi@72300000 {
		status = "okay";
		vioc_lcdc_num = <0>;
		no_gpio_manual_control = <1>;
	};

	hpd@72310000 {
		status = "okay";
	};

	audio@72330000 {
		status = "okay";
	};

	cec@72370000 {
		status = "okay";
	};

	gmac@71600000 {
		status = "okay";
		phyrst-gpio = <&gpc 29 0>;
		phyon-gpio = <&gpc 19 0>;
		phy-interface = "rgmii";
		ecid-mac-addr;
		txclk-o-dly = <0>; // changed from <29>;
		txclk-o-inv = <0>;
		txclk-i-dly = <0>;
		txclk-i-inv = <0>;
		txen-dly = <0>;
		txer-dly = <0>;
		txd0-dly = <0>;
		txd1-dly = <0>;
		txd2-dly = <0>; // <3>;
		txd3-dly = <0>; // <3>;
		txd4-dly = <0>;
		txd5-dly = <0>;
		txd6-dly = <0>;
		txd7-dly = <0>;
		rxclk-i-dly = <0>;
		rxclk-i-inv = <0>;
		rxdv-dly = <0>; // changed from <15>;
		rxer-dly = <0>;
		rxd0-dly = <0>; //<22>;
		rxd1-dly = <0>; //<20>;
		rxd2-dly = <0>; //<20>;
		rxd3-dly = <0>; //<21>;
		rxd4-dly = <0>;
		rxd5-dly = <0>;
		rxd6-dly = <0>;
		rxd7-dly = <0>;
		crs-dly = <0>;
		col-dly = <0>;
		pinctrl-names = "default", "mii", "rmii", "gmii", "rgmii";
		pinctrl-0 = <>;
		pinctrl-1 = <&gmac1_mdc &gmac1_mdio &gmac1_col &gmac1_crs &gmac1_txer &gmac1_rxer
					 &gmac1_txclk &gmac1_txen &gmac1_txd0 &gmac1_txd1 &gmac1_txd2 &gmac1_txd3
					 &gmac1_rxclk &gmac1_rxdv &gmac1_rxd0 &gmac1_rxd1 &gmac1_rxd2 &gmac1_rxd3>;
		pinctrl-2 = <&gmac1_mdc &gmac1_mdio
					 &gmac1_txclk &gmac1_txen &gmac1_txd0 &gmac1_txd1
					 &gmac1_rxer &gmac1_rxdv &gmac1_rxd0 &gmac1_rxd1>;
		pinctrl-3 = <&gmac1_mdc &gmac1_mdio &gmac1_col &gmac1_crs &gmac1_txer &gmac1_rxer
					 &gmac1_txclk &gmac1_txen &gmac1_txd0 &gmac1_txd1 &gmac1_txd2 &gmac1_txd3
					 &gmac1_txd4 &gmac1_txd5 &gmac1_txd6 &gmac1_txd7
					 &gmac1_rxclk &gmac1_rxdv &gmac1_rxd0 &gmac1_rxd1 &gmac1_rxd2 &gmac1_rxd3
					 &gmac1_rxd4 &gmac1_rxd5 &gmac1_rxd6 &gmac1_rxd7>;
		pinctrl-4 = <&gmac1_mdc &gmac1_mdio
					 &gmac1_txclk &gmac1_txen &gmac1_txd0 &gmac1_txd1 &gmac1_txd2 &gmac1_txd3
					 &gmac1_rxclk &gmac1_rxdv &gmac1_rxd0 &gmac1_rxd1 &gmac1_rxd2 &gmac1_rxd3>;
	};

	lvds: lvds@72380040{
		status = "okay";
	};

	fld0800 {
		compatible = "telechips,lvds-fld0800";
		status = "okay";
		lvds0 = <&lvds>;
		//power-on-gpios	= ;			//LCD_ON
		display-on-gpios	= <&gpd 6 0>;		//LCD_DISP
		reset-gpios		= <&gpf 19 0>;		//LCD_RST
		lvds-stby-gpios		= <&gpb 19 0>;		//LCD_DE = LVDS_STBY in LVDS
		//lvds-power-gpios	= ;			//LVDS_EN
		//lvds-power-gpios1	= ;			//V_5V0_EN
	};

	panel_1920x720 {
		status = "disable";
		compatible = "telechips,hdmi1920x720";
		clocks = <&clk_peri PERI_LCD0>, <&clk_peri PERI_LCD1>, <&clk_peri PERI_HDMI>, <&clk_ddi DDIBUS_HDMI>, <&clk_isoip_top ISOIP_TOP_HDMI>;
		clock-names = "lcdc0-clk", "lcdc1-clk", "hdmi-pclk", "hdmi-hclk", "hdmi-phy";
	};

	backlight {
		compatible = "telechips,tco_backlight";
		tco = <1 50>;	/* unit:nsec. */
		bl-gpios = <&gpc 19 4>;
		bl-gpio-func = <4>;
		default-brightness = <102>;	/* MAX:255 */
		status = "okay";
		pinctrl-names = "active", "idle";
		pinctrl-0 = <&tco_0_0>;
		pinctrl-1 = <&tco_0_0_idle>;
	};

	thermal@74700000 {
		compatible = "telechips,tcc-thermal";

                reg = <0x74700000 0x4 0x74700030 0x4 0x74200290 0x4
                        0x7420029c 0x4 0x74200298 0x4 0x7470000C 0x4
                        0x74700010 0x4>;

                status = "okay";

                throttle_count = <5>;
                throttle_active_count = <0>;
                throttle_passive_count = <5>;
                cal_type = "TYPE_ONE_POINT_TRIMMING";
                polling-delay-idle = <0>;
                polling-delay-passive = <0>;

                threshold_temp = <85>;

		throttle_table {
			throttle_tab_0 {
				temp = <75>;
				freq_max_cluster0 = <1000000>;
				freq_max_cluster1 = <900000>;
			};
			throttle_tab_1 {
				temp = <80>;
				freq_max_cluster0 = <900000>;
				freq_max_cluster1 = <810000>;
			};
			throttle_tab_2 {
				temp = <85>;
				freq_max_cluster0 = <800000>;
				freq_max_cluster1 = <720000>;
			};
			throttle_tab_3 {
				temp = <90>;
				freq_max_cluster0 = <700000>;
				freq_max_cluster1 = <630000>;
			};
			throttle_tab_4 {
				temp = <95>;
				freq_max_cluster0 = <600000>;
				freq_max_cluster1 = <540000>;
			};
		};
	};

	cpu-id@74200290{
		compatible = "telechips,tcc-cpu-id";
		reg = <0x74200290 0x4 0x74200298 0x4 0x7420029C 0x4 0x74400014 0x4>;
		status = "okay";
	};

	adc@76064000 {
		status = "okay";
	};
};

/* console */
&uart0 {
        pinctrl-names = "default";
        pinctrl-0 = <&uart22_data>;
        port-mux = <22>;
        status = "okay";
};

/* bluetooth */
&uart1 {
        pinctrl-names = "default";
        pinctrl-0 = <&uart30_data &uart30_rtscts>;
        port-mux = <30>;
        dmas = <&dma0 0 29 &dma0 1 30>;
        dma-names = "tx", "rx";
        status = "okay";
};

/* GPS */
&uart3 {
        pinctrl-names = "default";
        pinctrl-0 = <&uart10_data>;
        port-mux = <10>;
        status = "okay";
};


/{
	firmware {
		android {
			compatible = "android,firmware";
			fstab {
				compatible = "android,fstab";
				vendor {
					compatible = "android,vendor";
					dev = "/dev/block/platform/76020600.sdhc/by-name/vendor";
					type = "ext4";
					mnt_flags = "ro, wait";
					fsmgr_flags = "wait";
				};
			};
		};
	};
};

&reboot_mode {
	mode-shell = <BOOT_NORMAL>;
	mode-bootloader = <BOOT_FASTBOOT>;
	mode-recovery = <BOOT_RECOVERY>;
};
